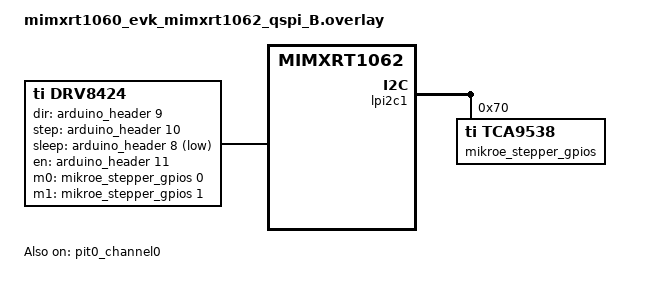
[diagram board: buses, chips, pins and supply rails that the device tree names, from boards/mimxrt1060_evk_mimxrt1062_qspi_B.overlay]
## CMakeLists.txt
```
# Copyright (c) 2024 Navimatix GmbH
# SPDX-License-Identifier: Apache-2.0

cmake_minimum_required(VERSION 3.20.0)

find_package(Zephyr REQUIRED HINTS $ENV{ZEPHYR_BASE})
project(stepper_drv8424_api)
target_sources(app PRIVATE
	src/main.c
)
```

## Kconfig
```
# Copyright (c) 2024 Navimatix GmbH
# SPDX-License-Identifier: Apache-2.0

config ENTROPY_GENERATOR
	depends on ZTEST_SHUFFLE
	bool "Shuffle the order of tests and suites"
	default y

source "Kconfig.zephyr"
```

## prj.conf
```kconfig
# Copyright (c) 2024 Navimatix GmbH
# SPDX-License-Identifier: Apache-2.0

CONFIG_ZTEST=y
CONFIG_TEST=y
CONFIG_TEST_USERSPACE=y
CONFIG_LOG=y
CONFIG_STEPPER_LOG_LEVEL_DBG=y
CONFIG_STEPPER=y
CONFIG_POLL=y
CONFIG_I2C=y
CONFIG_GPIO=y
CONFIG_COUNTER=y
CONFIG_PWM=y
```

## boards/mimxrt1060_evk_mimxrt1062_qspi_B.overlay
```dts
/*
 * Copyright (c) 2024 Navimatix GmbH
 * SPDX-License-Identifier: Apache-2.0
 */

#include <zephyr/dt-bindings/gpio/gpio.h>

/ {
	zephyr,user {
		stepper-motors = <&drv8424 0>;
	};
};

&lpi2c1 {
	status = "okay";

	mikroe_stepper_gpios: mikroe_stepper_ctrl_tca9538a@70 {
		status = "okay";
		compatible = "ti,tca9538";

		reg = <0x70>;

		gpio-controller;
		ngpios = <8>;
		#gpio-cells = <2>;

		gpio-reserved-ranges = <7 1>;

		gpio-line-names =
			"M0",
			"M1",
			"DEC0",
			"DEC1",
			"TOFF",
			"STP",
			"DIR";
	};
};

/ {
	drv8424: drv8424 {
		status = "okay";
		compatible = "ti,drv8424";

		dir-gpios = <&arduino_header 9 0>; /* D3 */
		step-gpios = <&arduino_header 10 0>; /* D4 */
		sleep-gpios = <&arduino_header 8 GPIO_ACTIVE_LOW>; /* D2 */
		en-gpios  = <&arduino_header 11 0>; /* D5 */
		m0-gpios = <&mikroe_stepper_gpios 0 0>;
		m1-gpios = <&mikroe_stepper_gpios 1 0>;
		counter = <&pit0_channel0>;

		#address-cells = <1>;
		#size-cells = <0>;
		#stepper-motor-cells = <0>;
	};
};

&pit0_channel0 {
	status = "okay";
};
```

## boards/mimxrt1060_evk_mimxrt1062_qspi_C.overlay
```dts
/*
 * Copyright (c) 2024 Navimatix GmbH
 * SPDX-License-Identifier: Apache-2.0
 */

#include <zephyr/dt-bindings/gpio/gpio.h>

/ {
	zephyr,user {
		stepper-motors = <&drv8424 0>;
	};
};

&lpi2c1 {
	status = "okay";

	mikroe_stepper_gpios: mikroe_stepper_ctrl_tca9538a@70 {
		status = "okay";
		compatible = "ti,tca9538";

		reg = <0x70>;

		gpio-controller;
		ngpios = <8>;
		#gpio-cells = <2>;

		gpio-reserved-ranges = <7 1>;

		gpio-line-names =
			"M0",
			"M1",
			"DEC0",
			"DEC1",
			"TOFF",
			"STP",
			"DIR";
	};
};

/ {
	drv8424: drv8424 {
		status = "okay";
		compatible = "ti,drv8424";

		dir-gpios = <&arduino_header 9 0>; /* D3 */
		step-gpios = <&arduino_header 10 0>; /* D4 */
		sleep-gpios = <&arduino_header 8 GPIO_ACTIVE_LOW>; /* D2 */
		en-gpios  = <&arduino_header 11 0>; /* D5 */
		m0-gpios = <&mikroe_stepper_gpios 0 0>;
		m1-gpios = <&mikroe_stepper_gpios 1 0>;
		counter = <&pit0_channel0>;
		timing-source = "counter";

		#address-cells = <1>;
		#size-cells = <0>;
		#stepper-motor-cells = <0>;
	};
};

&pit0_channel0 {
	status = "okay";
};
```

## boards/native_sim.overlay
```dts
/*
 * Copyright (c) 2024 Navimatix GmbH
 * SPDX-License-Identifier: Apache-2.0
 */

#include <zephyr/dt-bindings/gpio/gpio.h>

/ {
	drv8424: drv8424 {
		status = "okay";
		compatible = "ti,drv8424";


		dir-gpios = <&gpio1 0 0>; /* D3 */
		step-gpios = <&gpio1 1 0>; /* D4 */
		sleep-gpios = <&gpio2 0 GPIO_ACTIVE_LOW>; /* D2 */
		en-gpios = <&gpio2 1 0>; /* 5 */
		m0-gpios = <&gpio3 0 0>;
		m1-gpios = <&gpio3 1 0>;
		counter = <&counter0>;
		timing-source = "counter";

		#address-cells = <1>;
		#size-cells = <0>;
		#stepper-motor-cells = <0>;
	};

	gpio1: gpio1 {
		compatible = "zephyr,gpio-emul";
		#gpio-cells = <0x2>;
		status = "okay";
		gpio-controller;
	};

	gpio2: gpio2 {
		compatible = "zephyr,gpio-emul";
		#gpio-cells = <0x2>;
		status = "okay";
		gpio-controller;
	};

	gpio3: gpio3 {
		compatible = "zephyr,gpio-emul";
		#gpio-cells = <0x2>;
		status = "okay";
		gpio-controller;
	};
};
```

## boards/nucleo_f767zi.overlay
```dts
/*
 * Copyright (c) 2024 Navimatix GmbH
 * SPDX-License-Identifier: Apache-2.0
 */

#include <zephyr/dt-bindings/gpio/gpio.h>

/ {
	zephyr,user {
		stepper-motors = <&drv8424 0>;
	};
};

&i2c1 {
	status = "okay";

	mikroe_stepper_gpios: mikroe_stepper_ctrl_tca9538a@70 {
		status = "okay";
		compatible = "ti,tca9538";

		reg = <0x70>;

		gpio-controller;
		ngpios = <8>;
		#gpio-cells = <2>;

		gpio-reserved-ranges = <7 1>;

		gpio-line-names =
			"M0",
			"M1",
			"DEC0",
			"DEC1",
			"TOFF",
			"STP",
			"DIR";
	};
};

/ {
	 drv8424: drv8424 {
		status = "okay";
		compatible = "ti,drv8424";

		dir-gpios = <&arduino_header 18 0>; /* D12 */
		step-gpios = <&arduino_header 19 0>; /* D13 */
		sleep-gpios = <&arduino_header 15 GPIO_ACTIVE_LOW>; /* D9 */
		en-gpios  = <&arduino_header 14 0>; /* D8 */
		m0-gpios = <&mikroe_stepper_gpios 0 0>;
		m1-gpios = <&mikroe_stepper_gpios 1 0>;
		counter = <&counter2>;
		timing-source = "counter";

		#address-cells = <1>;
		#size-cells = <0>;
		#stepper-motor-cells = <0>;
	};
};

&timers2 {
	status = "okay";
	counter2: counter {
		status = "okay";
	};
};
```

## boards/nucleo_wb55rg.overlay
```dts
/*
 * Copyright (c) 2025 Navimatix GmbH
 * SPDX-License-Identifier: Apache-2.0
 */

#include <zephyr/dt-bindings/gpio/gpio.h>
#include <zephyr/dt-bindings/timer/stm32-timer-wb.h>

microbus_i2c: &i2c1 {};

/ {
	zephyr,user {
		stepper-motors = <&drv8424 0>;
	};
};

&i2c1 {
	status = "okay";

	mikroe_stepper_gpios: mikroe_stepper_ctrl_tca9538a@70 {
		status = "okay";
		compatible = "ti,tca9538";

		reg = <0x70>;

		gpio-controller;
		ngpios = <8>;
		#gpio-cells = <2>;

		gpio-reserved-ranges = <7 1>;

		gpio-line-names =
			"M0",
			"M1",
			"DEC0",
			"DEC1",
			"TOFF",
			"STP",
			"DIR";
	};
};

/ {
	drv8424: drv8424 {
		status = "okay";
		compatible = "ti,drv8424";

		dir-gpios = <&arduino_header 18 0>; /* D12 */
		step-gpios = <&arduino_header 0 0>; /* A0 */
		sleep-gpios = <&arduino_header 19 GPIO_ACTIVE_LOW>; /* D13 */
		en-gpios  = <&arduino_header 14 0>; /* D8 */
		m0-gpios = <&mikroe_stepper_gpios 0 0>;
		m1-gpios = <&mikroe_stepper_gpios 1 0>;
		step-generator = <&counter1>;
		step-counter = <&counter2>;
		pinctrl-0 = < &tim1_ch2_pa9 >;
		pinctrl-names = "default";
		trigger-input = <DT_STM32_TIMER_TIM1_TIM2_ITR>;
		output-channel = <2>;

		#address-cells = <1>;
		#size-cells = <0>;
		#stepper-motor-cells = <0>;
	};
};

&timers2 {
	status = "okay";
	counter2: counter {
		status = "okay";
	};
};

&timers1 {
	status = "okay";
	st,prescaler = < 0 >;
	counter1: counter {
		status = "okay";
		compatible = "st,stm32-counter";
	};
};
```

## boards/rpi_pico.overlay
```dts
/*
 * Copyright (c) 2024 Navimatix GmbH
 * SPDX-License-Identifier: Apache-2.0
 */

 #include <zephyr/dt-bindings/gpio/gpio.h>

&i2c1 {
	status = "okay";

	mikroe_stepper_gpios: mikroe_stepper_ctrl_tca9538a@70 {
		status = "okay";
		compatible = "ti,tca9538";

		reg = <0x70>;

		gpio-controller;
		ngpios = <8>;
		#gpio-cells = <2>;

		gpio-reserved-ranges = <7 1>;

		gpio-line-names =
			"M0",
			"M1",
			"DEC0",
			"DEC1",
			"TOFF",
			"STP",
			"DIR";
	};
};

/ {

	drv8424: drv8424 {
		status = "okay";
		compatible = "ti,drv8424";


		dir-gpios = <&gpio0 20 0 >;
		step-gpios = <&gpio0 19 0 >;
		sleep-gpios = <&gpio0 21 GPIO_ACTIVE_LOW>;
		m0-gpios = <&mikroe_stepper_gpios 0 0>;
		m1-gpios = <&mikroe_stepper_gpios 1 0>;
		counter = <&rpi_pico_pit_channel>;
	 };
};

/ {
	soc{
		rpi_pico_pit_controller: rpi_pico_pit_controller@4005d000 {
			status = "okay";
			compatible = "raspberrypi,pico-pit";
			reg = <0x4005d000 0x1000>;
			clocks = <&clocks 0x5>;
			interrupts = <0x4 0x3>;
			interrupt-names = "PWM_IRQ_WRAP";
			#pico-pit-controller-cells = <0>;
			#address-cells = <1>;
			#size-cells = <0>;

			rpi_pico_pit_channel: rpi_pico_pit_channel@3 {
				status = "okay";
				compatible = "raspberrypi,pico-pit-channel";
				reg = <3>;

				#pico-pit-channel-cells = <0>;
			};
		};
	};
};
```

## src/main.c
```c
/*
 * Copyright 2024 Navimatix GmbH
 *
 * SPDX-License-Identifier: Apache-2.0
 */

#include <zephyr/drivers/gpio.h>
#include <zephyr/kernel.h>
#include <zephyr/ztest_assert.h>
#include <stdbool.h>
#include <stdint.h>
#include <zephyr/ztest.h>
#include <zephyr/drivers/stepper.h>

struct drv8424_api_fixture {
	const struct device *dev;
	stepper_event_callback_t callback;
};

struct k_poll_signal stepper_signal;
struct k_poll_event stepper_event;

static void drv8424_api_print_event_callback(const struct device *dev, enum stepper_event event,
					     void *dummy)
{
	switch (event) {
	case STEPPER_EVENT_STEPS_COMPLETED:
		k_poll_signal_raise(&stepper_signal, STEPPER_EVENT_STEPS_COMPLETED);
		break;
	case STEPPER_EVENT_LEFT_END_STOP_DETECTED:
		k_poll_signal_raise(&stepper_signal, STEPPER_EVENT_LEFT_END_STOP_DETECTED);
		break;
	case STEPPER_EVENT_RIGHT_END_STOP_DETECTED:
		k_poll_signal_raise(&stepper_signal, STEPPER_EVENT_RIGHT_END_STOP_DETECTED);
		break;
	case STEPPER_EVENT_STALL_DETECTED:
		k_poll_signal_raise(&stepper_signal, STEPPER_EVENT_STALL_DETECTED);
		break;
	default:
		break;
	}
}

static void *drv8424_api_setup(void)
{
	static struct drv8424_api_fixture fixture = {
		.dev = DEVICE_DT_GET(DT_NODELABEL(drv8424)),
		.callback = drv8424_api_print_event_callback,
	};

	k_poll_signal_init(&stepper_signal);
	k_poll_event_init(&stepper_event, K_POLL_TYPE_SIGNAL, K_POLL_MODE_NOTIFY_ONLY,
			  &stepper_signal);

	zassert_not_null(fixture.dev);
	return &fixture;
}

static void drv8424_api_before(void *f)
{
	struct drv8424_api_fixture *fixture = f;
	(void)stepper_set_reference_position(fixture->dev, 0);
	(void)stepper_set_micro_step_res(fixture->dev, 1);
	k_poll_signal_reset(&stepper_signal);
}

static void drv8424_api_after(void *f)
{
	struct drv8424_api_fixture *fixture = f;
	(void)stepper_disable(fixture->dev);
}

ZTEST_F(drv8424_api, test_micro_step_res_set)
{
	(void)stepper_set_micro_step_res(fixture->dev, 4);
	enum stepper_micro_step_resolution res;
	(void)stepper_get_micro_step_res(fixture->dev, &res);
	zassert_equal(res, 4, "Micro step resolution not set correctly, should be %d but is %d", 4,
		      res);
}

ZTEST_F(drv8424_api, test_actual_position_set)
{
	int32_t pos = 100u;
	(void)stepper_set_reference_position(fixture->dev, pos);
	(void)stepper_get_actual_position(fixture->dev, &pos);
	zassert_equal(pos, 100u, "Actual position should be %u but is %u", 100u, pos);
}

ZTEST_F(drv8424_api, test_is_not_moving_when_disabled)
{
	int32_t steps = 100;
	bool moving = true;

	(void)stepper_enable(fixture->dev);
	(void)stepper_set_microstep_interval(fixture->dev, 20000000);
	(void)stepper_move_by(fixture->dev, steps);
	(void)stepper_disable(fixture->dev);
	(void)stepper_is_moving(fixture->dev, &moving);
	zassert_false(moving, "Driver should not be in state is_moving after being disabled");
}

ZTEST_F(drv8424_api, test_position_not_updating_when_disabled)
{
	int32_t steps = 1000;
	int32_t position_1 = 0;
	int32_t position_2 = 0;

	(void)stepper_enable(fixture->dev);
	(void)stepper_set_microstep_interval(fixture->dev, 20000000);
	(void)stepper_move_by(fixture->dev, steps);
	(void)stepper_disable(fixture->dev);
	(void)stepper_get_actual_position(fixture->dev, &position_1);
	k_msleep(100);
	(void)stepper_get_actual_position(fixture->dev, &position_2);
	zassert_equal(position_2, position_1,
		      "Actual position should not have changed from %d but is %d", position_1,
		      position_2);
}

ZTEST_F(drv8424_api, test_is_not_moving_when_reenabled_after_movement)
{
	int32_t steps = 1000;
	bool moving = true;

	(void)stepper_enable(fixture->dev);
	(void)stepper_set_microstep_interval(fixture->dev, 20000000);
	(void)stepper_move_by(fixture->dev, steps);
	(void)stepper_disable(fixture->dev);
	(void)k_msleep(100);
	(void)stepper_enable(fixture->dev);
	(void)k_msleep(100);
	(void)stepper_is_moving(fixture->dev, &moving);
	zassert_false(moving, "Driver should not be in state is_moving after being reenabled");
}
ZTEST_F(drv8424_api, test_position_not_updating_when_reenabled_after_movement)
{
	int32_t steps = 1000;
	int32_t position_1 = 0;
	int32_t position_2 = 0;

	(void)stepper_enable(fixture->dev);
	(void)stepper_set_microstep_interval(fixture->dev, 20000000);
	(void)stepper_move_by(fixture->dev, steps);
	(void)stepper_disable(fixture->dev);
	(void)stepper_get_actual_position(fixture->dev, &position_1);
	(void)k_msleep(100);
	(void)stepper_enable(fixture->dev);
	(void)k_msleep(100);
	(void)stepper_get_actual_position(fixture->dev, &position_2);
	zassert_equal(position_2, position_1,
		      "Actual position should not have changed from %d but is %d", position_1,
		      position_2);
}

ZTEST_F(drv8424_api, test_move_to_positive_direction_movement)
{
	int32_t pos = 50;

	(void)stepper_enable(fixture->dev);
	(void)stepper_set_microstep_interval(fixture->dev, 20000000);
	(void)stepper_set_event_callback(fixture->dev, fixture->callback, NULL);
	(void)stepper_move_to(fixture->dev, pos);
	(void)k_poll(&stepper_event, 1, K_SECONDS(5));
	unsigned int signaled;
	int result;

	k_poll_signal_check(&stepper_signal, &signaled, &result);
	zassert_equal(signaled, 1, "No event detected");
	zassert_equal(result, STEPPER_EVENT_STEPS_COMPLETED,
		      "Event was not STEPPER_EVENT_STEPS_COMPLETED event");
	(void)stepper_get_actual_position(fixture->dev, &pos);
	zassert_equal(pos, 50u, "Target position should be %d but is %d", 50u, pos);
}

ZTEST_F(drv8424_api, test_move_to_negative_direction_movement)
{
	int32_t pos = -50;

	(void)stepper_enable(fixture->dev);
	(void)stepper_set_microstep_interval(fixture->dev, 20000000);
	(void)stepper_set_event_callback(fixture->dev, fixture->callback, NULL);
	(void)stepper_move_to(fixture->dev, pos);
	(void)k_poll(&stepper_event, 1, K_SECONDS(5));
	unsigned int signaled;
	int result;

	k_poll_signal_check(&stepper_signal, &signaled, &result);
	zassert_equal(signaled, 1, "No event detected");
	zassert_equal(result, STEPPER_EVENT_STEPS_COMPLETED,
		      "Event was not STEPPER_EVENT_STEPS_COMPLETED event");
	(void)stepper_get_actual_position(fixture->dev, &pos);
	zassert_equal(pos, -50, "Target position should be %d but is %d", -50, pos);
}

ZTEST_F(drv8424_api, test_move_to_identical_current_and_target_position)
{
	int32_t pos = 0;

	(void)stepper_enable(fixture->dev);
	(void)stepper_set_microstep_interval(fixture->dev, 20000000);
	(void)stepper_set_event_callback(fixture->dev, fixture->callback, NULL);
	(void)stepper_move_to(fixture->dev, pos);
	(void)k_poll(&stepper_event, 1, K_SECONDS(5));
	unsigned int signaled;
	int result;

	k_poll_signal_check(&stepper_signal, &signaled, &result);
	zassert_equal(signaled, 1, "No event detected");
	zassert_equal(result, STEPPER_EVENT_STEPS_COMPLETED,
		      "Event was not STEPPER_EVENT_STEPS_COMPLETED event");
	(void)stepper_get_actual_position(fixture->dev, &pos);
	zassert_equal(pos, 0, "Target position should not have changed from %d but is %d", 0, pos);
}

ZTEST_F(drv8424_api, test_move_to_is_moving_true_while_moving)
{
	int32_t pos = 50;
	bool moving = false;

	(void)stepper_enable(fixture->dev);
	(void)stepper_set_microstep_interval(fixture->dev, 20000000);
	(void)stepper_set_event_callback(fixture->dev, fixture->callback, NULL);
	(void)stepper_move_to(fixture->dev, pos);
	(void)stepper_is_moving(fixture->dev, &moving);
	zassert_true(moving, "Driver should be in state is_moving while moving");
}

ZTEST_F(drv8424_api, test_move_to_is_moving_false_when_completed)
{
	int32_t pos = 50;
	bool moving = false;

	(void)stepper_enable(fixture->dev);
	(void)stepper_set_microstep_interval(fixture->dev, 20000000);
	(void)stepper_set_event_callback(fixture->dev, fixture->callback, NULL);
	(void)stepper_move_to(fixture->dev, pos);
	(void)k_poll(&stepper_event, 1, K_SECONDS(5));
	unsigned int signaled;
	int result;

	k_poll_signal_check(&stepper_signal, &signaled, &result);
	zassert_equal(signaled, 1, "No event detected");
	zassert_equal(result, STEPPER_EVENT_STEPS_COMPLETED,
		      "Event was not STEPPER_EVENT_STEPS_COMPLETED event");
	(void)stepper_is_moving(fixture->dev, &moving);
	zassert_false(moving, "Driver should not be in state is_moving after finishing");
}

ZTEST_F(drv8424_api, test_move_to_no_movement_when_disabled)
{
	int32_t pos = 50;
	int32_t curr_pos = 50;
	int32_t ret = 0;

	(void)stepper_set_microstep_interval(fixture->dev, 20000000);
	(void)stepper_disable(fixture->dev);

	ret = stepper_move_to(fixture->dev, pos);
	zassert_equal(ret, -ECANCELED, "Move_to should fail with error code %d but returned %d",
		      -ECANCELED, ret);
	(void)stepper_get_actual_position(fixture->dev, &curr_pos);
	zassert_equal(curr_pos, 0, "Current position should not have changed from %d but is %d", 0,
		      curr_pos);
}

ZTEST_F(drv8424_api, test_move_by_positive_step_count)
{
	int32_t steps = 50;

	(void)stepper_enable(fixture->dev);
	(void)stepper_set_microstep_interval(fixture->dev, 20000000);
	(void)stepper_set_event_callback(fixture->dev, fixture->callback, NULL);
	(void)stepper_move_by(fixture->dev, steps);
	(void)k_poll(&stepper_event, 1, K_SECONDS(5));
	unsigned int signaled;
	int result;

	k_poll_signal_check(&stepper_signal, &signaled, &result);
	zassert_equal(signaled, 1, "No event detected");
	zassert_equal(result, STEPPER_EVENT_STEPS_COMPLETED,
		      "Event was not STEPPER_EVENT_STEPS_COMPLETED event");
	(void)stepper_get_actual_position(fixture->dev, &steps);
	zassert_equal(steps, 50u, "Target position should be %d but is %d", 50u, steps);
}

ZTEST_F(drv8424_api, test_move_by_negative_step_count)
{
	int32_t steps = -50;

	(void)stepper_enable(fixture->dev);
	(void)stepper_set_microstep_interval(fixture->dev, 20000000);
	(void)stepper_set_event_callback(fixture->dev, fixture->callback, NULL);
	(void)stepper_move_by(fixture->dev, steps);
	(void)k_poll(&stepper_event, 1, K_SECONDS(5));
	unsigned int signaled;
	int result;

	k_poll_signal_check(&stepper_signal, &signaled, &result);
	zassert_equal(signaled, 1, "No event detected");
	zassert_equal(result, STEPPER_EVENT_STEPS_COMPLETED,
		      "Event was not STEPPER_EVENT_STEPS_COMPLETED event");
	(void)stepper_get_actual_position(fixture->dev, &steps);
	zassert_equal(steps, -50, "Target position should be %d but is %d", -50, steps);
}

ZTEST_F(drv8424_api, test_move_by_zero_steps_no_movement)
{
	int32_t steps = 0;

	(void)stepper_enable(fixture->dev);
	(void)stepper_set_microstep_interval(fixture->dev, 20000000);
	(void)stepper_set_event_callback(fixture->dev, fixture->callback, NULL);
	(void)stepper_move_by(fixture->dev, steps);
	(void)k_poll(&stepper_event, 1, K_SECONDS(5));
	unsigned int signaled;
	int result;

	k_poll_signal_check(&stepper_signal, &signaled, &result);
	zassert_equal(signaled, 1, "No event detected");
	zassert_equal(result, STEPPER_EVENT_STEPS_COMPLETED,
		      "Event was not STEPPER_EVENT_STEPS_COMPLETED event");
	(void)stepper_get_actual_position(fixture->dev, &steps);
	zassert_equal(steps, 0, "Target position should be %d but is %d", 0, steps);
}

ZTEST_F(drv8424_api, test_move_by_zero_step_interval)
{
	int32_t steps = 100;
	int32_t ret = 0;
	int32_t pos = 100;

	(void)stepper_enable(fixture->dev);
	(void)stepper_disable(fixture->dev);
	ret = stepper_move_by(fixture->dev, steps);

	zassert_not_equal(ret, 0, "Command should fail with an error code, but returned 0");
	k_msleep(100);
	(void)stepper_get_actual_position(fixture->dev, &pos);
	zassert_equal(pos, 0, "Target position should not have changed from %d but is %d", 0, pos);
}

ZTEST_F(drv8424_api, test_move_by_is_moving_true_while_moving)
{
	int32_t steps = 50;
	bool moving = false;

	(void)stepper_enable(fixture->dev);
	(void)stepper_set_microstep_interval(fixture->dev, 20000000);
	(void)stepper_set_event_callback(fixture->dev, fixture->callback, NULL);
	(void)stepper_move_by(fixture->dev, steps);
	(void)stepper_is_moving(fixture->dev, &moving);
	zassert_true(moving, "Driver should be in state is_moving");
}

ZTEST_F(drv8424_api, test_move_by_is_moving_false_when_completed)
{
	int32_t steps = 50;
	bool moving = true;

	(void)stepper_enable(fixture->dev);
	(void)stepper_set_microstep_interval(fixture->dev, 20000000);
	(void)stepper_set_event_callback(fixture->dev, fixture->callback, NULL);
	(void)stepper_move_by(fixture->dev, steps);
	(void)k_poll(&stepper_event, 1, K_SECONDS(5));
	unsigned int signaled;
	int result;

	k_poll_signal_check(&stepper_signal, &signaled, &result);
	zassert_equal(signaled, 1, "No event detected");
	zassert_equal(result, STEPPER_EVENT_STEPS_COMPLETED,
		      "Event was not STEPPER_EVENT_STEPS_COMPLETED event");
	(void)stepper_is_moving(fixture->dev, &moving);
	zassert_false(moving, "Driver should not be in state is_moving after completion");
}

ZTEST_F(drv8424_api, test_move_by_no_movement_when_disabled)
{
	int32_t steps = 100;
	int32_t curr_pos = 100;
	int32_t ret = 0;

	(void)stepper_set_microstep_interval(fixture->dev, 20000000);
	(void)stepper_disable(fixture->dev);

	ret = stepper_move_by(fixture->dev, steps);
	zassert_equal(ret, -ECANCELED, "Move_by should fail with error code %d but returned %d",
		      -ECANCELED, ret);
	(void)stepper_get_actual_position(fixture->dev, &curr_pos);
	zassert_equal(curr_pos, 0, "Current position should not have changed from %d but is %d", 0,
		      curr_pos);
}

ZTEST_F(drv8424_api, test_run_positive_direction_correct_position)
{
	uint64_t step_interval = 20000000;
	int32_t steps = 0;

	(void)stepper_enable(fixture->dev);
	(void)stepper_set_microstep_interval(fixture->dev, step_interval);
	(void)stepper_run(fixture->dev, STEPPER_DIRECTION_POSITIVE);
	k_busy_wait(110000);

	(void)stepper_get_actual_position(fixture->dev, &steps);
	zassert_true(IN_RANGE(steps, 4, 6), "Current position should be between 4 and 6 but is %d",
		     steps);
}

ZTEST_F(drv8424_api, test_run_negative_direction_correct_position)
{
	uint64_t step_interval = 20000000;
	int32_t steps = 0;

	(void)stepper_enable(fixture->dev);
	(void)stepper_set_microstep_interval(fixture->dev, step_interval);
	(void)stepper_run(fixture->dev, STEPPER_DIRECTION_NEGATIVE);
	k_busy_wait(110000);

	(void)stepper_get_actual_position(fixture->dev, &steps);
	zassert_true(IN_RANGE(steps, -6, 4),
		     "Current position should be between -6 and -4 but is %d", steps);
}

ZTEST_F(drv8424_api, test_run_zero_step_interval_correct_position)
{
	uint64_t step_interval = 0;
	int32_t steps = 0;

	(void)stepper_enable(fixture->dev);
	(void)stepper_set_microstep_interval(fixture->dev, step_interval);
	(void)stepper_run(fixture->dev, STEPPER_DIRECTION_POSITIVE);
	k_msleep(100);

	zassert_equal(steps, 0, "Current position should not have changed from %d but is %d", 0,
		      steps);
}

ZTEST_F(drv8424_api, test_run_is_moving_true_when_step_interval_greater_zero)
{
	uint64_t step_interval = 20000000;
	bool moving = false;

	(void)stepper_enable(fixture->dev);
	(void)stepper_set_microstep_interval(fixture->dev, step_interval);
	(void)stepper_run(fixture->dev, STEPPER_DIRECTION_POSITIVE);
	(void)stepper_is_moving(fixture->dev, &moving);
	zassert_true(moving, "Driver should be in state is_moving");
	(void)stepper_disable(fixture->dev);
}

ZTEST_F(drv8424_api, test_run_no_movement_when_disabled)
{
	uint64_t step_interval = 20000000;
	int32_t steps = 50;
	int32_t ret = 0;

	(void)stepper_disable(fixture->dev);
	(void)stepper_set_microstep_interval(fixture->dev, step_interval);

	ret = stepper_run(fixture->dev, STEPPER_DIRECTION_POSITIVE);
	zassert_equal(ret, -ECANCELED, "Run should fail with error code %d but returned %d",
		      -ECANCELED, ret);
	(void)stepper_get_actual_position(fixture->dev, &steps);
	zassert_equal(steps, 0, "Current position should not have changed from %d but is %d", 0,
		      steps);
}

ZTEST_SUITE(drv8424_api, NULL, drv8424_api_setup, drv8424_api_before, drv8424_api_after, NULL);
```
